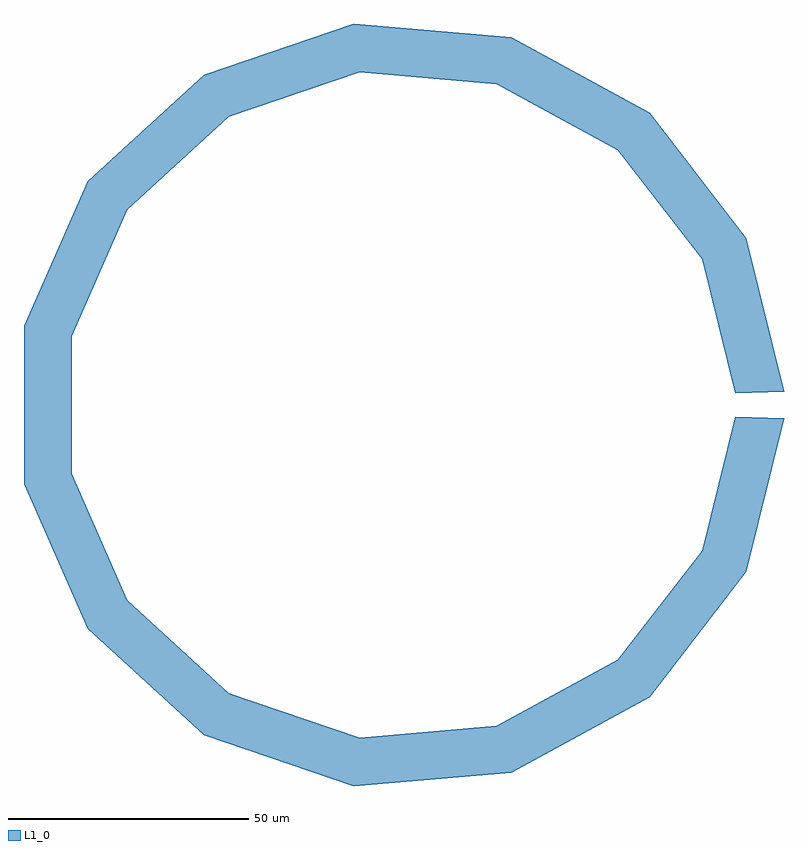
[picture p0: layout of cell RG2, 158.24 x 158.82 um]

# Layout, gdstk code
import gdstk
lib = gdstk.Library(unit=1e-6, precision=1e-09)
def P(c, l, *ps):  # polygons
    for p in ps: c.add(gdstk.Polygon(p, *l))
L1_0 = (1, 0)

rg2 = lib.new_cell('RG2')
P(rg2, L1_0, [(348.88,281.85),(342,309.72),(351.18,314.14),(359.07,282.2)],
  [(342,309.72),(324.48,332.46),(331.11,340.21),(351.18,314.14)],
  [(324.48,332.46),(299.29,346.23),(302.24,356),(331.11,340.21)],
  [(299.29,346.23),(270.69,348.7),(269.46,358.82),(302.24,356)],
  [(243.51,339.45),(238.31,348.22),(269.46,358.82),(270.69,348.7)],
  [(222.36,320.04),(214.07,325.98),(238.31,348.22),(243.51,339.45)],
  [(210.8,293.76),(200.83,295.86),(214.07,325.98),(222.36,320.04)],
  [(200.83,262.96),(200.83,295.86),(210.8,293.76),(210.8,265.06)],
  [(214.07,232.84),(200.83,262.96),(210.8,265.06),(222.36,238.78)],
  [(238.31,210.6),(214.07,232.84),(222.36,238.78),(243.51,219.37)],
  [(269.46,200),(238.31,210.6),(243.51,219.37),(270.69,210.12)],
  [(269.46,200),(270.69,210.12),(299.29,212.59),(302.24,202.82)],
  [(302.24,202.82),(299.29,212.59),(324.48,226.36),(331.11,218.61)],
  [(331.11,218.61),(324.48,226.36),(342,249.1),(351.18,244.68)],
  [(351.18,244.68),(342,249.1),(348.88,276.97),(359.07,276.62)])

lib.write_gds('RG2.gds')
